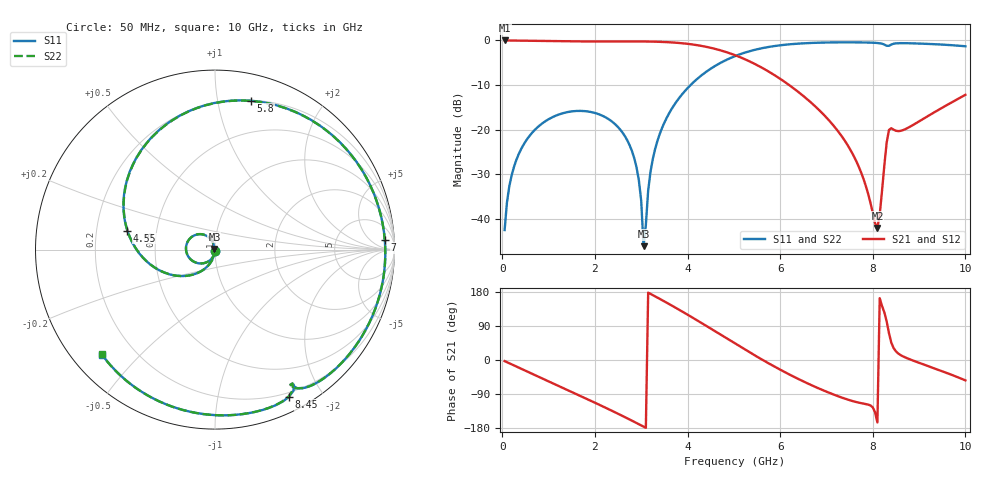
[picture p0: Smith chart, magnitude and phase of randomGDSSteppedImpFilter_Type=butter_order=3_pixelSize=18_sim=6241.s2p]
! freq	dB(S11)	phase(S11)	dB(S12)	phase(S12)
!  dB(S21)	phase(S21)	dB(S22)	phase(S22)
!S-par simulation data
#  GHz  S  DB  R 50
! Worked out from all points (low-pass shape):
!   200 points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, 50 MHz to 10 GHz, reference 50 ohm
!   highest |S21| = -0.01 dB at 50 MHz (marker M1); lowest = -42.1 dB at 8.1 GHz (marker M2)
!   |S21| within 3 dB of the highest: start of sweep to 4.946 GHz
!   lowest |S11| = -46.2 dB at 3.05 GHz (marker M3), VSWR 1.01, Z = 49.7 + j0.373 ohm
!   |S11| at or under -10 dB: start of sweep to 4.067 GHz
!   |S22| runs from -47.1 to -0.4 dB; largest |S21 - S12| = 0
!   S11 on the Smith chart (normalised r, x): 50 MHz: 1.00, -0.01; 4.55 GHz: 0.34, +0.10; 5.8 GHz: 0.20, +1.25; 7 GHz: 17, +19; 8.45 GHz: 0.15, -1.61; 10 GHz: 0.09, -0.39
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0.05  -42.57 -91.6  -0.01 -2.9  -0.01 -2.9  -42.61 -90.5
0.2  -30.36 -101.0  -0.02 -11.4  -0.02 -11.4  -30.36 -101.0
0.5  -22.71 -118.5  -0.06 -28.3  -0.06 -28.3  -22.71 -118.5
1.15  -16.91 -155.3  -0.17 -64.7  -0.17 -64.7  -16.91 -155.4
1.75  -15.84 171.0  -0.23 -98.4  -0.23 -98.4  -15.84 170.8
2.75  -23.53 114.0  -0.22 -157.0  -0.22 -157.0  -23.53 113.1
2.95  -31.45 105.1  -0.22 -169.5  -0.22 -169.5  -31.47 103.0
3.05  -46.18 130.1  -0.23 -175.8  -0.23 -175.8  -47.05 120.0
3.2  -29.51 -101.5  -0.25 174.5  -0.25 174.5  -29.54 -100.0
3.4  -21.00 -111.7  -0.31 161.4  -0.31 161.4  -21.00 -111.2
4  -10.71 -152.1  -0.76 119.7  -0.76 119.7  -10.71 -152.1
4.55  -6.02 167.8  -1.78 79.2  -1.78 79.2  -6.02 167.6
5.05  -3.42 130.4  -3.41 41.7  -3.41 41.7  -3.42 130.1
5.8  -1.38 76.5  -7.29 -12.1  -7.29 -12.1  -1.38 76.2
6.7  -0.55 20.0  -14.25 -67.8  -14.25 -67.8  -0.55 19.6
7  -0.47 3.3  -17.32 -83.6  -17.32 -83.6  -0.47 2.9
7.65  -0.44 -29.9  -27.24 -111.1  -27.24 -111.1  -0.44 -30.4
8.1  -0.58 -51.8  -42.12 -164.7  -42.12 -164.7  -0.59 -52.4
8.35  -1.21 -59.8  -20.09 70.7  -20.09 70.7  -1.30 -59.9
8.45  -0.74 -63.4  -20.03 31.4  -20.03 31.4  -0.77 -63.4
9.2  -0.78 -98.5  -16.92 -16.1  -16.92 -16.1  -0.78 -98.8
10  -1.31 -136.8  -12.21 -53.7  -12.21 -53.7  -1.31 -137.2
